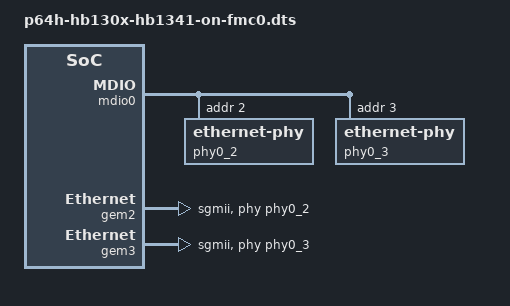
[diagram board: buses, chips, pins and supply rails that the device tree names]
// SPDX-License-Identifier: (GPL-2.0 OR MIT)
/* (c) 2026 Microchip Technology Inc. */

#include "p64h-hb130x.dts"

&mdio0 {
	phy0_2: ethernet-phy@2 {
		reg = <2>;
	};

	phy0_3: ethernet-phy@3 {
		reg = <3>;
	};
};

&gem2 {
	status = "okay";
	phy-handle = <&phy0_2>;
	phy-mode = "sgmii";
};

&gem3 {
	status = "okay";
	phy-handle = <&phy0_3>;
	phy-mode = "sgmii";
};
